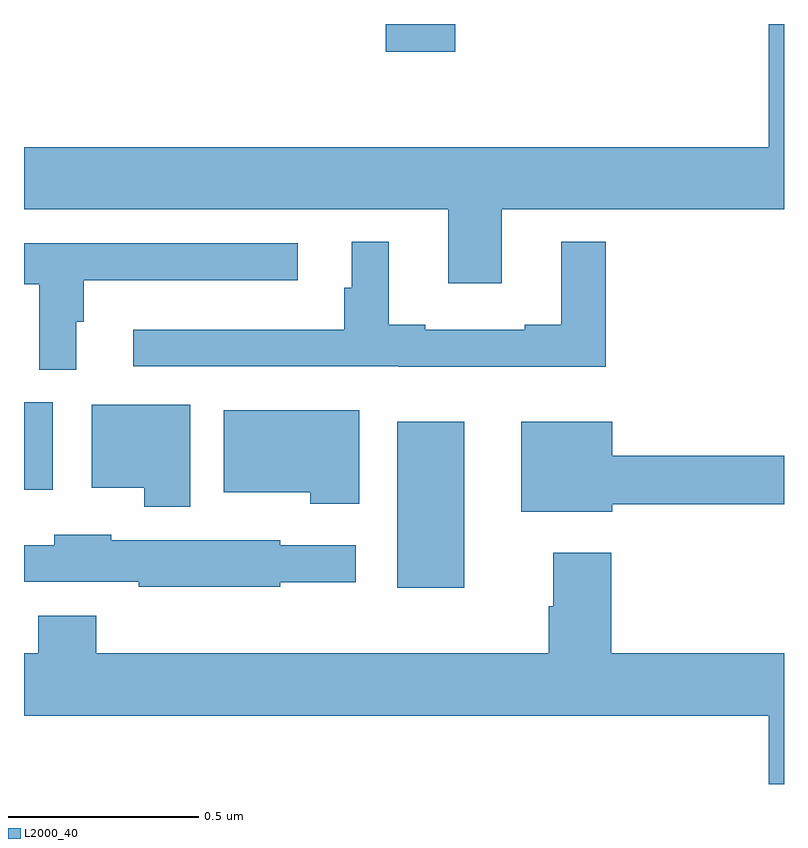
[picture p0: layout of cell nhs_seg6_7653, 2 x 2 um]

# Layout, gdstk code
import gdstk
lib = gdstk.Library(unit=1e-6, precision=1e-09)
def R(c, l, rs):  # rectangles x0, y0, x1, y1
    for r in rs: c.add(gdstk.rectangle(r[:2], r[2:], *l))
def P(c, l, *ps):  # polygons
    for p in ps: c.add(gdstk.Polygon(p, *l))
L2000_40 = (2000, 40)

nhs_seg6_7653 = lib.new_cell('nhs_seg6_7653')
R(nhs_seg6_7653, L2000_40, [(211.982,937.016,212.158,937.453), (211,937.274,211.075,937.504), (211.952,938.427,212.135,938.5)])
P(nhs_seg6_7653, L2000_40, [(212.257,938.012),(213,938.012),(213,938.5),(212.96,938.5),(212.96,938.176),(211,938.176),(211,938.012),(212.117,938.012),(212.117,937.818),(212.257,937.818)],
  [(212.531,937.927),(212.414,937.927),(212.414,937.708),(212.318,937.708),(212.318,937.695),(212.056,937.695),(212.056,937.708),(211.96,937.708),(211.96,937.927),(211.862,937.927),(211.862,937.806),(211.843,937.806),(211.843,937.696),(211.287,937.696),(211.287,937.599),(211.986,937.599),(211.986,937.598),(212.531,937.598)],
  [(211.138,937.716),(211.157,937.716),(211.157,937.826),(211.72,937.826),(211.72,937.923),(211,937.923),(211,937.815),(211.04,937.815),(211.04,937.59),(211.138,937.59)],
  [(211.438,937.498),(211.178,937.498),(211.178,937.28),(211.316,937.28),(211.316,937.23),(211.438,937.23)],
  [(211.882,937.483),(211.526,937.483),(211.526,937.268),(211.753,937.268),(211.753,937.238),(211.882,937.238)],
  [(212.548,937.236),(213,937.236),(213,937.364),(212.548,937.364),(212.548,937.453),(212.309,937.453),(212.309,937.217),(212.548,937.217)],
  [(211.674,937.031),(211.873,937.031),(211.873,937.128),(211.674,937.128),(211.674,937.141),(211.23,937.141),(211.23,937.156),(211.08,937.156),(211.08,937.128),(211,937.128),(211,937.032),(211.302,937.032),(211.302,937.019),(211.674,937.019)],
  [(213,936.844),(212.546,936.844),(212.546,937.108),(212.393,937.108),(212.393,936.968),(212.381,936.968),(212.381,936.844),(211.19,936.844),(211.19,936.943),(211.037,936.943),(211.037,936.844),(211,936.844),(211,936.68),(212.96,936.68),(212.96,936.5),(213,936.5)])

lib.write_gds('nhs_seg6_7653.gds')
